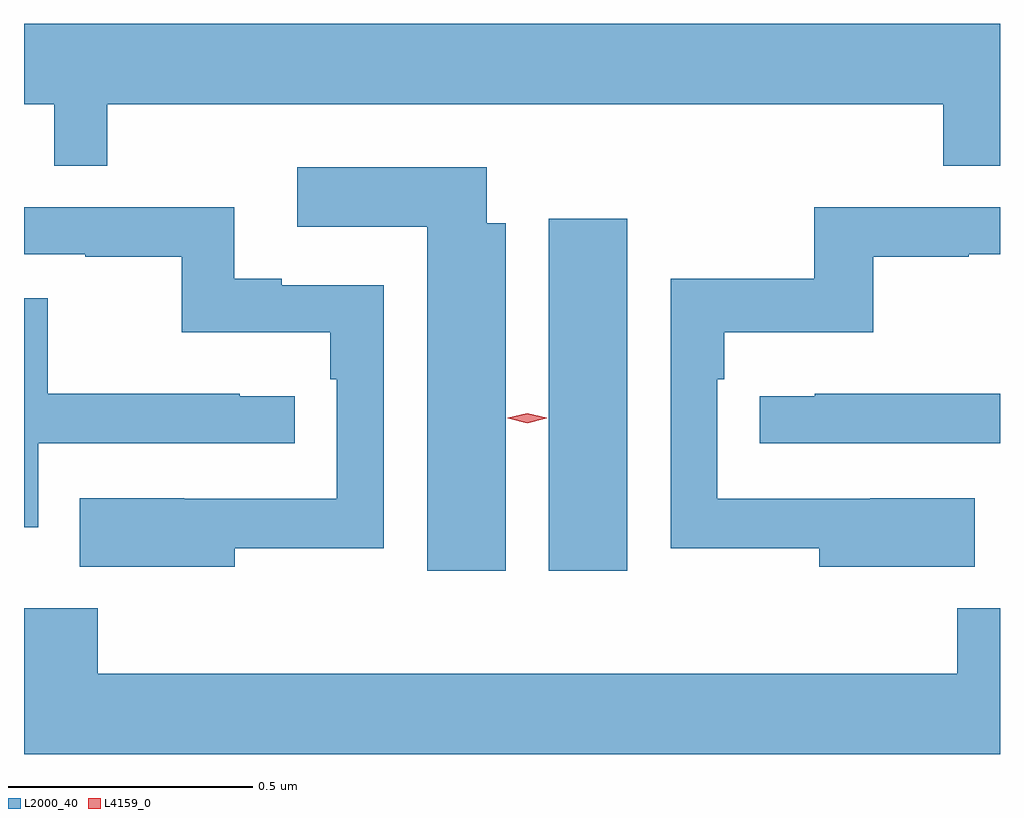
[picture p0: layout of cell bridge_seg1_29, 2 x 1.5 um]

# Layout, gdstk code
import gdstk
lib = gdstk.Library(unit=1e-6, precision=1e-09)
def R(c, l, rs):  # rectangles x0, y0, x1, y1
    for r in rs: c.add(gdstk.rectangle(r[:2], r[2:], *l))
def P(c, l, *ps):  # polygons
    for p in ps: c.add(gdstk.Polygon(p, *l))
L2000_40 = (2000, 40)
L4159_0 = (4159, 0)

bridge_seg1_29 = lib.new_cell('bridge_seg1_29')
R(bridge_seg1_29, L2000_40, [(1103.528,542.784,1103.689,543.505)])
P(bridge_seg1_29, L2000_40, [(1102.624,543.74),(1104.337,543.74),(1104.337,543.613),(1104.453,543.613),(1104.453,543.904),(1102.453,543.904),(1102.453,543.74),(1102.515,543.74),(1102.515,543.613),(1102.624,543.613)],
  [(1103.44,543.496),(1103.401,543.496),(1103.401,543.61),(1103.013,543.61),(1103.013,543.488),(1103.279,543.488),(1103.279,542.784),(1103.44,542.784)],
  [(1102.885,542.83),(1103.19,542.83),(1103.19,543.369),(1102.981,543.369),(1102.981,543.382),(1102.884,543.382),(1102.884,543.528),(1102.453,543.528),(1102.453,543.432),(1102.579,543.432),(1102.579,543.427),(1102.776,543.427),(1102.776,543.272),(1103.081,543.272),(1103.081,543.176),(1103.094,543.176),(1103.094,542.931),(1102.781,542.931),(1102.781,542.932),(1102.567,542.932),(1102.567,542.792),(1102.885,542.792)],
  [(1104.401,542.932),(1104.187,542.932),(1104.187,542.931),(1103.874,542.931),(1103.874,543.176),(1103.888,543.176),(1103.888,543.272),(1104.193,543.272),(1104.193,543.427),(1104.389,543.427),(1104.389,543.432),(1104.453,543.432),(1104.453,543.528),(1104.072,543.528),(1104.072,543.382),(1103.778,543.382),(1103.778,542.83),(1104.083,542.83),(1104.083,542.792),(1104.401,542.792)],
  [(1102.482,543.045),(1103.008,543.045),(1103.008,543.141),(1102.895,543.141),(1102.895,543.146),(1102.502,543.146),(1102.502,543.342),(1102.453,543.342),(1102.453,542.873),(1102.482,542.873)],
  [(1104.453,543.146),(1104.073,543.146),(1104.073,543.141),(1103.961,543.141),(1103.961,543.045),(1104.453,543.045)],
  [(1104.453,542.707),(1104.365,542.707),(1104.365,542.572),(1102.604,542.572),(1102.604,542.707),(1102.453,542.707),(1102.453,542.408),(1104.453,542.408)])
P(bridge_seg1_29, L4159_0, [(1103.484,543.086),(1103.444,543.096),(1103.444,543.096),(1103.444,543.097),(1103.484,543.106),(1103.524,543.097),(1103.524,543.096),(1103.524,543.096)])

lib.write_gds('bridge_seg1_29.gds')
